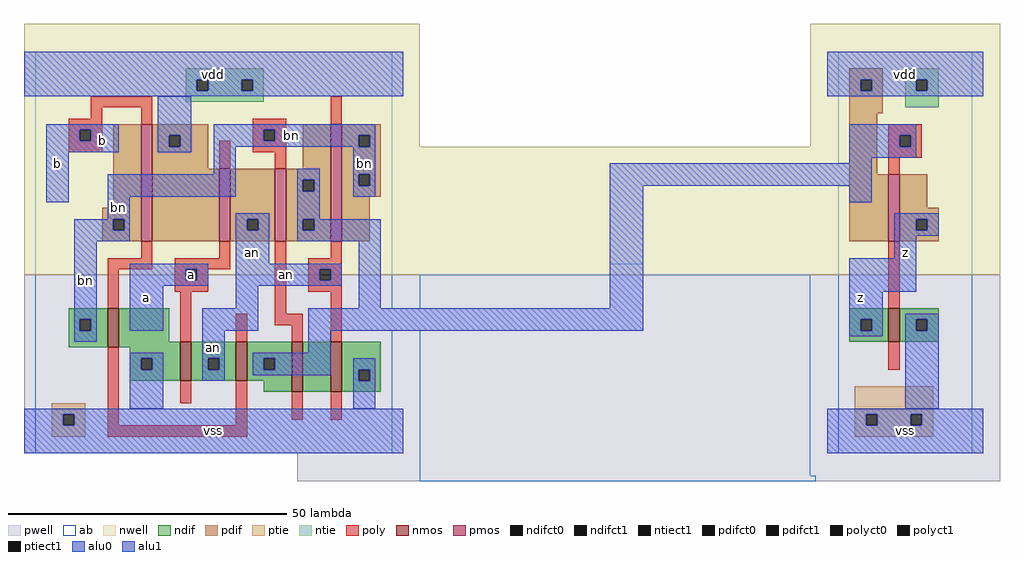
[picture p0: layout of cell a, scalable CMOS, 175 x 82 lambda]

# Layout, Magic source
magic
tech scmos
<< ab >>
rect -139 31 -75 77
rect 5 57 29 77
rect 7 53 29 57
rect -36 37 -30 39
rect -70 31 0 37
rect -139 27 0 31
rect -139 5 -75 27
rect -70 1 0 27
rect 5 5 29 53
rect -70 0 1 1
<< nwell >>
rect -141 60 -70 82
rect 0 60 34 82
rect -141 37 34 60
<< pwell >>
rect -141 5 34 37
rect -92 0 34 5
<< poly >>
rect -129 67 -118 69
rect -129 65 -127 67
rect -133 63 -127 65
rect -120 64 -118 67
rect -133 61 -131 63
rect -129 61 -127 63
rect -133 59 -127 61
rect -100 63 -94 65
rect -86 64 -84 69
rect -100 61 -98 63
rect -96 61 -94 63
rect -106 56 -104 61
rect -100 59 -94 61
rect -96 56 -94 59
rect 14 62 20 64
rect 14 60 16 62
rect 18 60 20 62
rect 14 58 20 60
rect 14 55 16 58
rect -120 40 -118 43
rect -106 40 -104 43
rect -126 38 -118 40
rect -114 38 -104 40
rect -126 31 -124 38
rect -114 36 -112 38
rect -110 36 -108 38
rect -114 34 -108 36
rect -113 25 -111 34
rect -96 30 -94 43
rect -86 40 -84 43
rect -90 38 -84 40
rect -90 36 -88 38
rect -86 36 -84 38
rect -90 34 -84 36
rect -103 25 -101 30
rect -96 28 -91 30
rect -93 25 -91 28
rect -86 25 -84 34
rect 14 31 16 43
rect -126 10 -124 24
rect -113 14 -111 18
rect -103 10 -101 18
rect 14 20 16 25
rect -93 11 -91 16
rect -86 11 -84 16
rect -126 8 -101 10
<< ndif >>
rect -133 29 -126 31
rect -133 27 -131 29
rect -129 27 -126 29
rect -133 24 -126 27
rect -124 25 -115 31
rect 7 29 14 31
rect 7 27 9 29
rect 11 27 14 29
rect 7 25 14 27
rect 16 29 23 31
rect 16 27 19 29
rect 21 27 23 29
rect 16 25 23 27
rect -124 24 -113 25
rect -122 22 -113 24
rect -122 20 -120 22
rect -118 20 -113 22
rect -122 18 -113 20
rect -111 22 -103 25
rect -111 20 -108 22
rect -106 20 -103 22
rect -111 18 -103 20
rect -101 22 -93 25
rect -101 20 -98 22
rect -96 20 -93 22
rect -101 18 -93 20
rect -98 16 -93 18
rect -91 16 -86 25
rect -84 20 -77 25
rect -84 18 -81 20
rect -79 18 -77 20
rect -84 16 -77 18
<< pdif >>
rect 7 72 13 74
rect 7 70 9 72
rect 11 70 13 72
rect -125 49 -120 64
rect -127 47 -120 49
rect -127 45 -125 47
rect -123 45 -120 47
rect -127 43 -120 45
rect -118 62 -108 64
rect -118 60 -115 62
rect -113 60 -108 62
rect 7 66 13 70
rect -118 56 -108 60
rect -91 56 -86 64
rect -118 43 -106 56
rect -104 47 -96 56
rect -104 45 -101 47
rect -99 45 -96 47
rect -104 43 -96 45
rect -94 54 -86 56
rect -94 52 -91 54
rect -89 52 -86 54
rect -94 47 -86 52
rect -94 45 -91 47
rect -89 45 -86 47
rect -94 43 -86 45
rect -84 62 -77 64
rect -84 60 -81 62
rect -79 60 -77 62
rect -84 55 -77 60
rect -84 53 -81 55
rect -79 53 -77 55
rect -84 51 -77 53
rect 7 55 12 66
rect -84 43 -79 51
rect 7 43 14 55
rect 16 49 21 55
rect 16 47 23 49
rect 16 45 19 47
rect 21 45 23 47
rect 16 43 23 45
<< alu1 >>
rect -141 72 -73 77
rect -141 70 -110 72
rect -108 70 -102 72
rect -100 70 -73 72
rect -141 69 -73 70
rect 3 72 31 77
rect 3 70 9 72
rect 11 70 19 72
rect 21 70 31 72
rect 3 69 31 70
rect -137 63 -124 64
rect -137 61 -131 63
rect -129 61 -124 63
rect -137 59 -124 61
rect -137 50 -133 59
rect -92 54 -88 56
rect -92 52 -91 54
rect -89 52 -88 54
rect -92 47 -88 52
rect 7 62 19 64
rect 7 60 16 62
rect 18 60 19 62
rect 7 58 19 60
rect 7 57 11 58
rect -36 53 11 57
rect -92 45 -91 47
rect -89 45 -77 47
rect -92 43 -77 45
rect -122 38 -108 39
rect -122 36 -112 38
rect -110 36 -108 38
rect -122 35 -108 36
rect -122 27 -116 35
rect -81 31 -77 43
rect -36 31 -30 53
rect 7 50 11 53
rect 15 47 23 48
rect 15 45 19 47
rect 21 45 23 47
rect 15 44 23 45
rect 15 40 19 44
rect -90 27 -30 31
rect 7 34 19 40
rect 7 29 13 34
rect 7 27 9 29
rect 11 27 13 29
rect -90 23 -86 27
rect 7 26 13 27
rect -100 22 -86 23
rect -100 20 -98 22
rect -96 20 -86 22
rect -100 19 -86 20
rect -141 12 -73 13
rect -141 10 -134 12
rect -132 10 -73 12
rect -141 5 -73 10
rect 3 12 31 13
rect 3 10 10 12
rect 12 10 18 12
rect 20 10 31 12
rect 3 5 31 10
<< ptie >>
rect -136 12 -130 14
rect -136 10 -134 12
rect -132 10 -130 12
rect -136 8 -130 10
rect 8 12 22 17
rect 8 10 10 12
rect 12 10 18 12
rect 20 10 22 12
rect 8 8 22 10
<< ntie >>
rect -112 72 -98 74
rect -112 70 -110 72
rect -108 70 -102 72
rect -100 70 -98 72
rect -112 68 -98 70
rect 17 72 23 74
rect 17 70 19 72
rect 21 70 23 72
rect 17 67 23 70
<< nmos >>
rect -126 24 -124 31
rect 14 25 16 31
rect -113 18 -111 25
rect -103 18 -101 25
rect -93 16 -91 25
rect -86 16 -84 25
<< pmos >>
rect -120 43 -118 64
rect -106 43 -104 56
rect -96 43 -94 56
rect -86 43 -84 64
rect 14 43 16 55
<< polyct0 >>
rect -98 61 -96 63
rect -88 36 -86 38
<< polyct1 >>
rect -131 61 -129 63
rect 16 60 18 62
rect -112 36 -110 38
<< ndifct0 >>
rect -131 27 -129 29
rect 19 27 21 29
rect -120 20 -118 22
rect -108 20 -106 22
rect -81 18 -79 20
<< ndifct1 >>
rect 9 27 11 29
rect -98 20 -96 22
<< ntiect1 >>
rect -110 70 -108 72
rect -102 70 -100 72
rect 19 70 21 72
<< ptiect1 >>
rect -134 10 -132 12
rect 10 10 12 12
rect 18 10 20 12
<< pdifct0 >>
rect -125 45 -123 47
rect -115 60 -113 62
rect -101 45 -99 47
rect -81 60 -79 62
rect -81 53 -79 55
<< pdifct1 >>
rect 9 70 11 72
rect -91 52 -89 54
rect -91 45 -89 47
rect 19 45 21 47
<< alu0 >>
rect -117 62 -111 69
rect -117 60 -115 62
rect -113 60 -111 62
rect -117 59 -111 60
rect -107 63 -78 64
rect -107 61 -98 63
rect -96 62 -78 63
rect -96 61 -81 62
rect -107 60 -81 61
rect -79 60 -78 62
rect -107 55 -103 60
rect -126 51 -103 55
rect -126 47 -122 51
rect -132 45 -125 47
rect -123 45 -122 47
rect -132 43 -122 45
rect -103 47 -97 48
rect -103 45 -101 47
rect -99 45 -97 47
rect -132 29 -128 43
rect -103 39 -97 45
rect -82 55 -78 60
rect -82 53 -81 55
rect -79 53 -78 55
rect -82 51 -78 53
rect -132 27 -131 29
rect -129 27 -128 29
rect -103 38 -84 39
rect -103 36 -88 38
rect -86 36 -84 38
rect -103 35 -84 36
rect -103 31 -99 35
rect -109 27 -99 31
rect -132 25 -128 27
rect -122 22 -116 23
rect -122 20 -120 22
rect -118 20 -116 22
rect -122 13 -116 20
rect -109 22 -105 27
rect 17 29 23 30
rect 17 27 19 29
rect 21 27 23 29
rect -109 20 -108 22
rect -106 20 -105 22
rect -109 18 -105 20
rect -82 20 -78 22
rect -82 18 -81 20
rect -79 18 -78 20
rect -82 13 -78 18
rect 17 13 23 27
<< labels >>
rlabel alu1 9 33 9 33 6 z
rlabel alu1 17 9 17 9 6 vss
rlabel alu1 17 41 17 41 6 z
rlabel alu1 17 73 17 73 6 vdd
rlabel alu0 -124 49 -124 49 6 bn
rlabel alu0 -130 36 -130 36 6 bn
rlabel alu0 -107 24 -107 24 6 an
rlabel alu0 -100 41 -100 41 6 an
rlabel alu0 -94 37 -94 37 6 an
rlabel alu0 -80 57 -80 57 6 bn
rlabel alu0 -93 62 -93 62 6 bn
rlabel alu1 -135 57 -135 57 6 b
rlabel alu1 -127 61 -127 61 6 b
rlabel alu1 -119 33 -119 33 6 a
rlabel polyct1 -111 37 -111 37 6 a
rlabel alu1 -107 9 -107 9 6 vss
rlabel alu1 -107 73 -107 73 6 vdd
<< end >>
